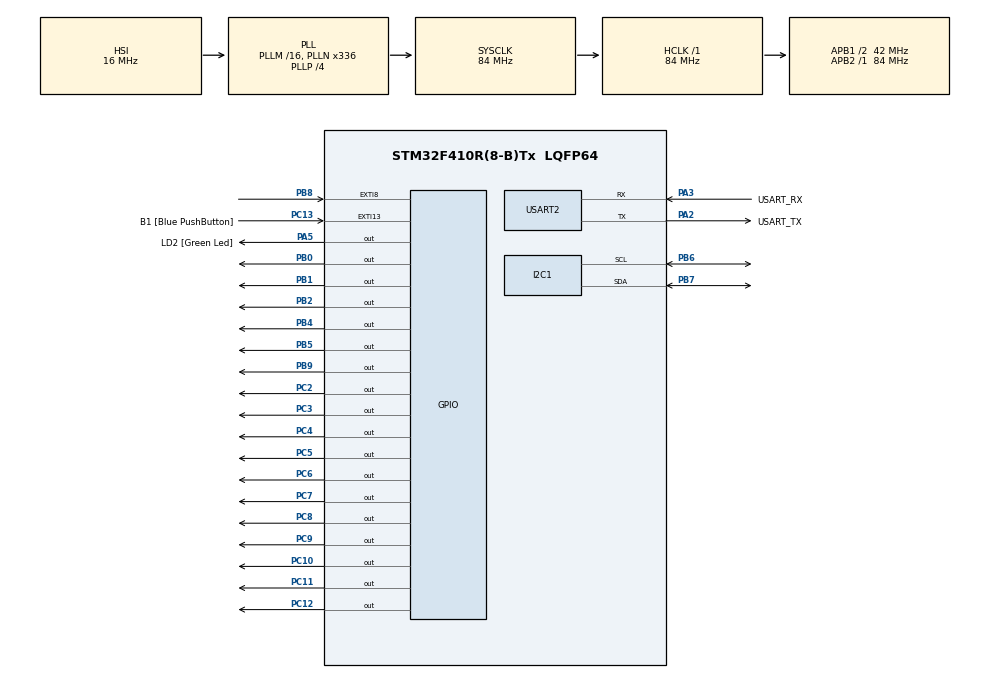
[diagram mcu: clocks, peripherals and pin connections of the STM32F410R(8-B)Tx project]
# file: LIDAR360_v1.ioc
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I2C1.I2C_Mode=I2C_Fast
Mcu.Family=STM32F4
Mcu.Name=STM32F410R(8-B)Tx
Mcu.Package=LQFP64
NVIC.PriorityGroup=NVIC_PRIORITYGROUP_4
PA13.GPIO_Label=TMS
PA13.Mode=Serial_Wire
PA13.Signal=SYS_JTMS-SWDIO
PA14.GPIO_Label=TCK
PA14.Mode=Serial_Wire
PA14.Signal=SYS_JTCK-SWCLK
PA2.GPIO_Label=USART_TX
PA2.Mode=Asynchronous
PA2.Signal=USART2_TX
PA3.GPIO_Label=USART_RX
PA3.Mode=Asynchronous
PA3.Signal=USART2_RX
PA5.GPIO_Label=LD2 [Green Led]
PA5.Signal=GPIO_Output
PB0.Signal=GPIO_Output
PB1.Signal=GPIO_Output
PB2.Signal=GPIO_Output
PB3.GPIO_Label=SWO
PB3.Signal=SYS_JTDO-SWO
PB4.Signal=GPIO_Output
PB5.Signal=GPIO_Output
PB6.Mode=I2C
PB6.Signal=I2C1_SCL
PB7.Mode=I2C
PB7.Signal=I2C1_SDA
PB8.Signal=GPXTI8
PB9.Signal=GPIO_Output
PC10.Signal=GPIO_Output
PC11.Signal=GPIO_Output
PC12.Signal=GPIO_Output
PC13-ANTI_TAMP.GPIO_Label=B1 [Blue PushButton]
PC13-ANTI_TAMP.GPIO_ModeDefaultEXTI=GPIO_MODE_IT_FALLING
PC13-ANTI_TAMP.Signal=GPXTI13
PC14-OSC32_IN.Mode=LSE-External-Oscillator
PC14-OSC32_IN.Signal=RCC_OSC32_IN
PC15-OSC32_OUT.Mode=LSE-External-Oscillator
PC15-OSC32_OUT.Signal=RCC_OSC32_OUT
PC2.Signal=GPIO_Output
PC3.Signal=GPIO_Output
PC4.Signal=GPIO_Output
PC5.Signal=GPIO_Output
PC6.Signal=GPIO_Output
PC7.Signal=GPIO_Output
PC8.Signal=GPIO_Output
PC9.Signal=GPIO_Output
PH0\ -\ OSC_IN.Mode=HSE-External-Clock-Source
PH0\ -\ OSC_IN.Signal=RCC_OSC_IN
PH1\ -\ OSC_OUT.Mode=HSE-External-Clock-Source
PH1\ -\ OSC_OUT.Signal=RCC_OSC_OUT
ProjectManager.HeapSize=0x200
ProjectManager.StackSize=0x400
ProjectManager.TargetToolchain=STM32CubeIDE
RCC.48MHZClocksFreq_Value=84000000
RCC.AHBFreq_Value=84000000
RCC.APB1CLKDivider=RCC_HCLK_DIV2
RCC.APB1Freq_Value=42000000
RCC.APB1TimFreq_Value=84000000
RCC.APB2Freq_Value=84000000
RCC.APB2TimFreq_Value=84000000
RCC.CortexFreq_Value=84000000
RCC.FLatency-AdvancedSettings=FLASH_LATENCY_2
RCC.HCLKFreq_Value=84000000
RCC.HSE_VALUE=8000000
RCC.HSI_VALUE=16000000
RCC.PLLN=336
RCC.PLLP=RCC_PLLP_DIV4
RCC.SYSCLKFreq_VALUE=84000000
RCC.SYSCLKSource=RCC_SYSCLKSOURCE_PLLCLK
RCC.VCOOutputFreq_Value=336000000
USART2.VirtualMode=VM_ASYNC
board=NUCLEO-F410RB

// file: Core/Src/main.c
/* USER CODE BEGIN Header */
/**
  ******************************************************************************
  * @file           : main.c
  * @brief          : Main program body
  ******************************************************************************
  * @attention
  *
  * Copyright (c) 2022 STMicroelectronics.
  * All rights reserved.
  *
  * This software is licensed under terms that can be found in the LICENSE file
  * in the root directory of this software component.
  * If no LICENSE file comes with this software, it is provided AS-IS.
  *
  ******************************************************************************
  */
/* USER CODE END Header */
#include "main.h"

/* USER CODE BEGIN Includes */
#include "platform_specific.h"
#include "stm32f4xx.h"
#include "stm32f4xx_nucleo.h"
#include "platform_specific.h"
#include <string.h>
#include "VL53L1X_api.h"
#include "math.h"
/* USER CODE END Includes */

/* USER CODE BEGIN PD */
#define RadarCircleRadius 						(110.0 / 2.0)
#define Pi 										3.1415
#define VHV_TIMER 								200
#define ROI_CONFIG__USER_ROI_CENTRE_SPAD		0x007F
//#define NumOfTOFSensors							9
#define NumOfTOFSensors							16
#define TotalWidthOfSPADS						16
#define WidthOfSPADsPerZone						4
#define NumOfSPADsShiftPerZone					1
#define HorizontalFOVofSensor					19.09
#define SingleSPADFOV							(HorizontalFOVofSensor/TotalWidthOfSPADS)
#define NumOfZonesPerSensor						(((TotalWidthOfSPADS - WidthOfSPADsPerZone) / NumOfSPADsShiftPerZone) + 1)
#define StartingZoneAngle						(WidthOfSPADsPerZone / 2 * SingleSPADFOV)
#define ZoneFOVChangePerStep					(SingleSPADFOV * NumOfSPADsShiftPerZone)
/* USER CODE END PD */

 I2C_HandleTypeDef hi2c1;

UART_HandleTypeDef huart2;

/* USER CODE BEGIN PV */

 /* ----- UART variables, only useful for Serial communication ----- */

 extern char Uart_RXBuffer[80];	/* Buffer for continuous RX */
 #ifdef USER
 extern char UartComm_RXBuffer[80];
 #endif
 extern int UART_Active;		/* Flag to see if UART is active */
 extern int UART_Ready;		/* Flag new command available   */
 extern size_t Uart_RxIndex;

 /* ----- VL53L1X variables ----- */

 uint16_t Dev_init = 0x52;		/* I2C address of device 1 */
 float    LidarAngle[117];
 uint16_t LidarDistance[117];
 uint32_t TimeStamp[117];
 //uint16_t Devs[9] = {0x62, 0x64, 0x66, 0x68, 0x6A, 0x6C, 0x6E, 0x70, 0x72};
 uint16_t Devs[16] = {0x62, 0x64, 0x66, 0x68, 0x6A, 0x6C, 0x6E, 0x70, 0x72, 0x74, 0x76, 0x78, 0x7A, 0x7C, 0x7E, 0x80};
 uint16_t Distance;
 uint16_t SignalRate;
 uint16_t SpadNb;
 uint16_t AmbientRate;
 uint16_t SignalPerSpad;
 uint16_t AmbientPerSpad;
 uint8_t RangeStatus;
 uint16_t RangeCounter = 0;
 #define Calibrate
 /*
 #ifdef Calibrate
 int16_t  OffsetCal[NumOfTOFSensors*NumOfZonesPerSensor] = {
 		0,0,0,0,0,0,0,0,0,0,0,0,0,
 		0,0,0,0,0,0,0,0,0,0,0,0,0,
 		0,0,0,0,0,0,0,0,0,0,0,0,0,
 		0,0,0,0,0,0,0,0,0,0,0,0,0,
 		0,0,0,0,0,0,0,0,0,0,0,0,0,
 		0,0,0,0,0,0,0,0,0,0,0,0,0,
 		0,0,0,0,0,0,0,0,0,0,0,0,0,
 		0,0,0,0,0,0,0,0,0,0,0,0,0,
 		0,0,0,0,0,0,0,0,0,0,0,0,0
 		};
 #else
 int16_t  OffsetCal[NumOfTOFSensors * NumOfZonesPerSensor] = {
  -40, -44, -29, -24, -21, -18, -14, -15, -14, -13, -17, -22, -32,
  -28, -17, -21, -24, -11, -12, -12,  -9, -11, -26, -25, -36, -38,
  -36, -46, -26, -24, -20, -16, -17, -14, -11, -18, -17, -26, -37,
  -43, -31, -21, -25, -20,  -8, -12, -12, -13, -20, -27, -26, -38,
  -51, -41, -36, -24, -22, -21, -19, -16, -17, -22, -32, -41, -52,
  -44, -38, -26, -26, -29, -17,  -8, -11, -20, -20, -28, -34, -40,
  -50, -41, -37, -39, -23, -11, -21, -18, -20, -18, -23, -34, -48,
  -50, -41, -29, -28, -20, -16, -10, -16, -22, -25, -22, -45, -41,
  -43, -40, -25, -27, -16, -21, -14,  -9, -28, -39, -40, -46, -55
 };*/
#ifdef Calibrate
int16_t  OffsetCal[NumOfTOFSensors*NumOfZonesPerSensor] = {
		0,0,0,0,0,0,0,0,0,0,0,0,0,
		0,0,0,0,0,0,0,0,0,0,0,0,0,
		0,0,0,0,0,0,0,0,0,0,0,0,0,
		0,0,0,0,0,0,0,0,0,0,0,0,0,
		0,0,0,0,0,0,0,0,0,0,0,0,0,
		0,0,0,0,0,0,0,0,0,0,0,0,0,
		0,0,0,0,0,0,0,0,0,0,0,0,0,
		0,0,0,0,0,0,0,0,0,0,0,0,0,
		0,0,0,0,0,0,0,0,0,0,0,0,0,
		0,0,0,0,0,0,0,0,0,0,0,0,0,
		0,0,0,0,0,0,0,0,0,0,0,0,0,
		0,0,0,0,0,0,0,0,0,0,0,0,0,
		0,0,0,0,0,0,0,0,0,0,0,0,0,
		0,0,0,0,0,0,0,0,0,0,0,0,0,
		0,0,0,0,0,0,0,0,0,0,0,0,0,
		0,0,0,0,0,0,0,0,0,0,0,0,0
		};
#else
int16_t  OffsetCal[NumOfTOFSensors * NumOfZonesPerSensor] = {
 -40, -44, -29, -24, -21, -18, -14, -15, -14, -13, -17, -22, -32,
 -28, -17, -21, -24, -11, -12, -12,  -9, -11, -26, -25, -36, -38,
 -36, -46, -26, -24, -20, -16, -17, -14, -11, -18, -17, -26, -37,
 -43, -31, -21, -25, -20,  -8, -12, -12, -13, -20, -27, -26, -38,
 -51, -41, -36, -24, -22, -21, -19, -16, -17, -22, -32, -41, -52,
 -44, -38, -26, -26, -29, -17,  -8, -11, -20, -20, -28, -34, -40,
 -50, -41, -37, -39, -23, -11, -21, -18, -20, -18, -23, -34, -48,
 -50, -41, -29, -28, -20, -16, -10, -16, -22, -25, -22, -45, -41,
 -43, -40, -25, -27, -16, -21, -14,  -9, -28, -39, -40, -46, -55
};

 #endif
 uint16_t   zone_center[]={247,239,231,223,215,207,199,191,183,175,167,159,151, 247, 239, 231, 223, 215};
 // Timing Budget Options:  15, 20, 33, 50, 100, 200, 500
 uint16_t TimingBudget = 15;

 uint16_t current_zone=0;
 char BigBuff[4000];
 char VL53L1X_BUFFER[60];	/* Create a buffer to get data */
/* USER CODE END PV */

void SystemClock_Config(void);
static void MX_GPIO_Init(void);
static void MX_USART2_UART_Init(void);
static void MX_I2C1_Init(void);
/* USER CODE BEGIN PFP */
void PlotPolarData(uint8_t SensorNum, uint8_t CurrentZone, uint8_t NumOfZones, uint16_t Distance);
void TurnOnSensor(uint8_t SensorNum);
void ResetAllSensors(void);
void ResetAndInitializeAllSensors(void);
void SystemClock_Config(void);
/* USER CODE END PFP */

/* USER CODE BEGIN 0 */
uint8_t dataRead;
void ResetAndInitializeAllSensors(void)
{
	uint8_t i, Sensor, error = 0;
	uint8_t Bootstate = 0;
	int16_t Offset;
	ResetAllSensors();
	HAL_Delay(10);
	for (i = 0; i < NumOfTOFSensors; i++)
	{
		TurnOnSensor(i);
		HAL_Delay(5);
		error += VL53L1X_BootState(Dev_init, &Bootstate);
		while (Bootstate != 0x03)
		{
			HAL_Delay(5);
			error += VL53L1X_BootState(Dev_init, &Bootstate);
		}
		VL53L1X_SensorInit(Dev_init);	/* Initialize sensor  */
		VL53L1X_SetI2CAddress(Dev_init, Devs[i]);	/* Change i2c address Left is now 0x62 and Dev1 */
		dataRead = ReadRegister8(Devs[i], 0x10f);
		dataRead = ReadRegister8(Devs[i], 0x110);
	}
	UART_Print("All Chips booted\n");

	for (Sensor = 0; Sensor < NumOfTOFSensors; Sensor++)
	{
		VL53L1X_SetDistanceMode(Devs[Sensor], 1);
		VL53L1X_SetTimingBudgetInMs(Devs[Sensor], TimingBudget);
		VL53L1X_SetInterMeasurementInMs(Devs[Sensor], TimingBudget);
		VL53L1X_SetROI(Devs[Sensor], WidthOfSPADsPerZone, 6);
		WriteRegister8(Devs[Sensor], ROI_CONFIG__USER_ROI_CENTRE_SPAD, zone_center[0] - 0);
		error = VL53L1X_GetOffset(Devs[Sensor], &Offset);
		VL53L1X_SetOffset(Devs[Sensor], Offset + 40);
	}
	for (Sensor = 0; Sensor < NumOfTOFSensors; Sensor++)
	{
		VL53L1X_StartRanging(Devs[Sensor]);
		HAL_Delay(1);
	}
	if (error !=0)
	{
		UART_Print("Some Errors seen\n");
	}

}

float OldAngle;
double SystemAngle;
void PlotPolarData(uint8_t SensorNum, uint8_t CurrentZone, uint8_t NumOfZones, uint16_t Distance)
{
	double PartZoneAngle;

	float CorrectedDistance = 0;

	if (Distance > 60000)
	{
		Distance = 0;
	}
	PartZoneAngle = (StartingZoneAngle + ZoneFOVChangePerStep*CurrentZone) - (HorizontalFOVofSensor / 2.0);
	SystemAngle = -80 + 20.0*SensorNum + PartZoneAngle;
	CorrectedDistance = pow(pow(RadarCircleRadius,2) + pow(Distance, 2) - (2 * RadarCircleRadius * Distance * cos((180 - PartZoneAngle)/(180) * Pi)), 0.5);
	if (CorrectedDistance < 55)
	{
		CorrectedDistance = 55;
	}
	LidarAngle[SensorNum*13+CurrentZone] = SystemAngle;
	LidarDistance[SensorNum*13+CurrentZone] = (uint16_t)CorrectedDistance;
}

void TurnOnSensor(uint8_t SensorNum)
{
	switch (SensorNum)
	{
		case 0:
			// GPIO PC2
			HAL_GPIO_WritePin(GPIOC, GPIO_PIN_2, GPIO_PIN_SET);
			break;
		case 1:
			// GPIO PC3
			HAL_GPIO_WritePin(GPIOC, GPIO_PIN_3, GPIO_PIN_SET);
			break;
		case 2:
			// GPIO PC4
			HAL_GPIO_WritePin(GPIOC, GPIO_PIN_4, GPIO_PIN_SET);
			break;
		case 3:
			// GPIO PC5
			HAL_GPIO_WritePin(GPIOC, GPIO_PIN_5, GPIO_PIN_SET);
			break;
		case 4:
			// GPIO PC6
			HAL_GPIO_WritePin(GPIOC, GPIO_PIN_6, GPIO_PIN_SET);
			break;
		case 5:
			// GPIO PC7
			HAL_GPIO_WritePin(GPIOC, GPIO_PIN_7, GPIO_PIN_SET);
			break;
		case 6:
			// GPIO PC8
			HAL_GPIO_WritePin(GPIOC, GPIO_PIN_8, GPIO_PIN_SET);
			break;
		case 7:
			// GPIO PC9
			HAL_GPIO_WritePin(GPIOC, GPIO_PIN_9, GPIO_PIN_SET);
			break;
		case 8:
			// GPIO PC10
			HAL_GPIO_WritePin(GPIOC, GPIO_PIN_10, GPIO_PIN_SET);
			break;
		case 9:
			// GPIO PC11
			HAL_GPIO_WritePin(GPIOC, GPIO_PIN_11, GPIO_PIN_SET);
			break;
		case 10:
			// GPIO PC12
			HAL_GPIO_WritePin(GPIOC, GPIO_PIN_12, GPIO_PIN_SET);
			break;
		case 11:
			// GPIO PB0
			HAL_GPIO_WritePin(GPIOB, GPIO_PIN_0, GPIO_PIN_SET);
			break;
		case 12:
			// GPIO PB1
			HAL_GPIO_WritePin(GPIOB, GPIO_PIN_1, GPIO_PIN_SET);
			break;
		case 13:
			// GPIO PB2
			HAL_GPIO_WritePin(GPIOB, GPIO_PIN_2, GPIO_PIN_SET);
			break;
		/*case 14:
			// GPIO PB3
			HAL_GPIO_WritePin(GPIOB, GPIO_PIN_3, GPIO_PIN_SET);
			break;*/
		case 14:
			// GPIO PB8
			HAL_GPIO_WritePin(GPIOB, GPIO_PIN_8, GPIO_PIN_SET);
			break;
		case 15:
			// GPIO PB4
			HAL_GPIO_WritePin(GPIOB, GPIO_PIN_4, GPIO_PIN_SET);
			break;
		case 16:
			// GPIO PB5
			HAL_GPIO_WritePin(GPIOB, GPIO_PIN_5, GPIO_PIN_SET);
			break;
		/*case 17:
			// GPIO PB6
			HAL_GPIO_WritePin(GPIOB, GPIO_PIN_6, GPIO_PIN_SET);
			break;
		case 18:
			// GPIO PB7
			HAL_GPIO_WritePin(GPIOB, GPIO_PIN_7, GPIO_PIN_SET);
			break;*/
		case 17:
			// GPIO PB9
			HAL_GPIO_WritePin(GPIOB, GPIO_PIN_9, GPIO_PIN_SET);
			break;
		case 18:
			// GPIO PB10
			HAL_GPIO_WritePin(GPIOB, GPIO_PIN_10, GPIO_PIN_SET);
			break;
	}
}

void ResetAllSensors(void)
{
	HAL_GPIO_WritePin(GPIOC, GPIO_PIN_2, GPIO_PIN_RESET);
	HAL_GPIO_WritePin(GPIOC, GPIO_PIN_3, GPIO_PIN_RESET);
	HAL_GPIO_WritePin(GPIOC, GPIO_PIN_4, GPIO_PIN_RESET);
	HAL_GPIO_WritePin(GPIOC, GPIO_PIN_5, GPIO_PIN_RESET);
	HAL_GPIO_WritePin(GPIOC, GPIO_PIN_6, GPIO_PIN_RESET);
	HAL_GPIO_WritePin(GPIOC, GPIO_PIN_7, GPIO_PIN_RESET);
	HAL_GPIO_WritePin(GPIOC, GPIO_PIN_8, GPIO_PIN_RESET);
	HAL_GPIO_WritePin(GPIOC, GPIO_PIN_9, GPIO_PIN_RESET);
	HAL_GPIO_WritePin(GPIOC, GPIO_PIN_10, GPIO_PIN_RESET);
	HAL_GPIO_WritePin(GPIOC, GPIO_PIN_11, GPIO_PIN_RESET);
	HAL_GPIO_WritePin(GPIOC, GPIO_PIN_12, GPIO_PIN_RESET);

	HAL_GPIO_WritePin(GPIOB, GPIO_PIN_0, GPIO_PIN_RESET);
	HAL_GPIO_WritePin(GPIOB, GPIO_PIN_1, GPIO_PIN_RESET);
	HAL_GPIO_WritePin(GPIOB, GPIO_PIN_2, GPIO_PIN_RESET);
	//HAL_GPIO_WritePin(GPIOB, GPIO_PIN_3, GPIO_PIN_RESET);
	HAL_GPIO_WritePin(GPIOB, GPIO_PIN_4, GPIO_PIN_RESET);
	HAL_GPIO_WritePin(GPIOB, GPIO_PIN_5, GPIO_PIN_RESET);
	//HAL_GPIO_WritePin(GPIOB, GPIO_PIN_6, GPIO_PIN_RESET); I2C
	//HAL_GPIO_WritePin(GPIOB, GPIO_PIN_7, GPIO_PIN_RESET); I2C
	HAL_GPIO_WritePin(GPIOB, GPIO_PIN_8, GPIO_PIN_RESET);
	HAL_GPIO_WritePin(GPIOB, GPIO_PIN_9, GPIO_PIN_RESET);
	HAL_GPIO_WritePin(GPIOB, GPIO_PIN_10, GPIO_PIN_RESET);
}

/* USER CODE END 0 */

int main(void)
{
  /* USER CODE BEGIN 1 */
	VL53L1X_ERROR error = 0;
	uint32_t i=0;
	uint8_t Zone, Sensor, Timeout;

	uint32_t TimeStart, TimeEnd, TotalTime, CurrentTime;
	uint8_t Sensorcheck;
  /* USER CODE END 1 */

  /* MCU Configuration--------------------------------------------------------*/

  /* Reset of all peripherals, Initializes the Flash interface and the Systick. */
  HAL_Init();

  /* Configure the system clock */
  SystemClock_Config();

  /* Initialize all configured peripherals */
  MX_GPIO_Init();
  MX_USART2_UART_Init();
  MX_I2C1_Init();

  /* Infinite loop */
  while (1)
  {

    /* USER CODE BEGIN 3 */
	error = 0;
	TimeStart = HAL_GetTick();
	Timeout = 0;
	for(Zone = 0; Zone < NumOfZonesPerSensor; Zone++)
	{
		for (Sensor=0; Sensor < NumOfTOFSensors ; Sensor++)
		{
			WriteRegister8(Devs[Sensor], ROI_CONFIG__USER_ROI_CENTRE_SPAD, zone_center[Zone+1] - 0);
		}
		i=i+1;
		for (Sensor=0; Sensor < NumOfTOFSensors ; Sensor++)
		{
			error = VL53L1X_CheckForDataReady(Devs[Sensor], &Sensorcheck);
			while ((Sensorcheck == 0) && (Timeout == 0))
			{
				HAL_Delay(1);
				CurrentTime = HAL_GetTick();
				if (CurrentTime > (TimeStart + (NumOfZonesPerSensor + 1) * TimingBudget * 2))
				{
					Timeout = 1;
					Sensor = NumOfTOFSensors;
					Zone = NumOfZonesPerSensor;
				}
				else
				{
					error += VL53L1X_CheckForDataReady(Devs[Sensor], &Sensorcheck);
				}
			}
			if (Timeout == 0)
			{
				WriteRegister8(Devs[Sensor], ROI_CONFIG__USER_ROI_CENTRE_SPAD, zone_center[Zone+1] - 0);
				TimeStamp[Sensor*13+ Zone] = HAL_GetTick();
				VL53L1X_ClearInterrupt(Devs[Sensor]);

				error += VL53L1X_GetDistance(Devs[Sensor], &Distance);
				error += VL53L1X_GetRangeStatus(Devs[Sensor], &RangeStatus);
				if ((RangeStatus== 0) || (RangeStatus == 7))
				{
					if (Distance > 60000)
					{
						Distance = 0;
						PlotPolarData(Sensor, Zone, 13, 0);
					}
					else
					{
						Distance = Distance + OffsetCal[Sensor*13 + Zone];
						if (Distance > 60000)
						{
							Distance = 0;
						}
						PlotPolarData(Sensor, Zone, 13, Distance);
					}
				}
				else
				{
					PlotPolarData(Sensor, Zone, 13, 4000);
				}
			}
		}
	}
	if (Timeout == 1)
	{
		ResetAndInitializeAllSensors();
		Timeout = 0;
		UART_Print("Reset Performed\n");
	}
	else
	{
		HAL_Delay(TimingBudget);
		TimeEnd = HAL_GetTick();;
		TotalTime = (TimeEnd - TimeStart);
		snprintf(BigBuff, sizeof(BigBuff), "Time: %ld\n", TotalTime);
		UART_Print(BigBuff);
	}
	if (error !=0)
	{
		UART_Print("Some Errors seen\n");
	}
  }
  /* USER CODE END 3 */
}

void SystemClock_Config(void)
{
  RCC_OscInitTypeDef RCC_OscInitStruct = {0};
  RCC_ClkInitTypeDef RCC_ClkInitStruct = {0};

  /** Configure the main internal regulator output voltage
  */
  __HAL_RCC_PWR_CLK_ENABLE();
  __HAL_PWR_VOLTAGESCALING_CONFIG(PWR_REGULATOR_VOLTAGE_SCALE1);

  /** Initializes the RCC Oscillators according to the specified parameters
  * in the RCC_OscInitTypeDef structure.
  */
  RCC_OscInitStruct.OscillatorType = RCC_OSCILLATORTYPE_HSI;
  RCC_OscInitStruct.HSIState = RCC_HSI_ON;
  RCC_OscInitStruct.HSICalibrationValue = RCC_HSICALIBRATION_DEFAULT;
  RCC_OscInitStruct.PLL.PLLState = RCC_PLL_ON;
  RCC_OscInitStruct.PLL.PLLSource = RCC_PLLSOURCE_HSI;
  RCC_OscInitStruct.PLL.PLLM = 16;
  RCC_OscInitStruct.PLL.PLLN = 336;
  RCC_OscInitStruct.PLL.PLLP = RCC_PLLP_DIV4;
  RCC_OscInitStruct.PLL.PLLQ = 4;
  RCC_OscInitStruct.PLL.PLLR = 2;
  if (HAL_RCC_OscConfig(&RCC_OscInitStruct) != HAL_OK)
  {
    Error_Handler();
  }

  /** Initializes the CPU, AHB and APB buses clocks
  */
  RCC_ClkInitStruct.ClockType = RCC_CLOCKTYPE_HCLK|RCC_CLOCKTYPE_SYSCLK
                              |RCC_CLOCKTYPE_PCLK1|RCC_CLOCKTYPE_PCLK2;
  RCC_ClkInitStruct.SYSCLKSource = RCC_SYSCLKSOURCE_PLLCLK;
  RCC_ClkInitStruct.AHBCLKDivider = RCC_SYSCLK_DIV1;
  RCC_ClkInitStruct.APB1CLKDivider = RCC_HCLK_DIV2;
  RCC_ClkInitStruct.APB2CLKDivider = RCC_HCLK_DIV1;

  if (HAL_RCC_ClockConfig(&RCC_ClkInitStruct, FLASH_LATENCY_2) != HAL_OK)
  {
    Error_Handler();
  }
}

static void MX_I2C1_Init(void)
{

  hi2c1.Instance = I2C1;
  hi2c1.Init.ClockSpeed = 400000;
  hi2c1.Init.DutyCycle = I2C_DUTYCYCLE_2;
  hi2c1.Init.OwnAddress1 = 0;
  hi2c1.Init.AddressingMode = I2C_ADDRESSINGMODE_7BIT;
  hi2c1.Init.DualAddressMode = I2C_DUALADDRESS_DISABLE;
  hi2c1.Init.OwnAddress2 = 0;
  hi2c1.Init.GeneralCallMode = I2C_GENERALCALL_DISABLE;
  hi2c1.Init.NoStretchMode = I2C_NOSTRETCH_DISABLE;
  if (HAL_I2C_Init(&hi2c1) != HAL_OK)
  {
    Error_Handler();
  }

}

static void MX_USART2_UART_Init(void)
{

  huart2.Instance = USART2;
  huart2.Init.BaudRate = 115200;
  huart2.Init.WordLength = UART_WORDLENGTH_8B;
  huart2.Init.StopBits = UART_STOPBITS_1;
  huart2.Init.Parity = UART_PARITY_NONE;
  huart2.Init.Mode = UART_MODE_TX_RX;
  huart2.Init.HwFlowCtl = UART_HWCONTROL_NONE;
  huart2.Init.OverSampling = UART_OVERSAMPLING_16;
  if (HAL_UART_Init(&huart2) != HAL_OK)
  {
    Error_Handler();
  }

}

static void MX_GPIO_Init(void)
{
  GPIO_InitTypeDef GPIO_InitStruct = {0};

  /* GPIO Ports Clock Enable */
  __HAL_RCC_GPIOC_CLK_ENABLE();
  __HAL_RCC_GPIOH_CLK_ENABLE();
  __HAL_RCC_GPIOA_CLK_ENABLE();
  __HAL_RCC_GPIOB_CLK_ENABLE();

  /*Configure GPIO pin Output Level */
  HAL_GPIO_WritePin(GPIOC, GPIO_PIN_2|GPIO_PIN_3|GPIO_PIN_4|GPIO_PIN_5
                          |GPIO_PIN_6|GPIO_PIN_7|GPIO_PIN_8|GPIO_PIN_9
                          |GPIO_PIN_10|GPIO_PIN_11|GPIO_PIN_12, GPIO_PIN_RESET);

  /*Configure GPIO pin Output Level */
  HAL_GPIO_WritePin(LD2_GPIO_Port, LD2_Pin, GPIO_PIN_RESET);

  /*Configure GPIO pin Output Level */
  HAL_GPIO_WritePin(GPIOB, GPIO_PIN_0|GPIO_PIN_1|GPIO_PIN_2|GPIO_PIN_4
                          |GPIO_PIN_5|GPIO_PIN_9, GPIO_PIN_RESET);

  /*Configure GPIO pin : B1_Pin */
  GPIO_InitStruct.Pin = B1_Pin;
  GPIO_InitStruct.Mode = GPIO_MODE_IT_FALLING;
  GPIO_InitStruct.Pull = GPIO_NOPULL;
  HAL_GPIO_Init(B1_GPIO_Port, &GPIO_InitStruct);

  /*Configure GPIO pins : PC2 PC3 PC4 PC5
                           PC6 PC7 PC8 PC9
                           PC10 PC11 PC12 */
  GPIO_InitStruct.Pin = GPIO_PIN_2|GPIO_PIN_3|GPIO_PIN_4|GPIO_PIN_5
                          |GPIO_PIN_6|GPIO_PIN_7|GPIO_PIN_8|GPIO_PIN_9
                          |GPIO_PIN_10|GPIO_PIN_11|GPIO_PIN_12;
  GPIO_InitStruct.Mode = GPIO_MODE_OUTPUT_PP;
  GPIO_InitStruct.Pull = GPIO_NOPULL;
  GPIO_InitStruct.Speed = GPIO_SPEED_FREQ_LOW;
  HAL_GPIO_Init(GPIOC, &GPIO_InitStruct);

  /*Configure GPIO pin : LD2_Pin */
  GPIO_InitStruct.Pin = LD2_Pin;
  GPIO_InitStruct.Mode = GPIO_MODE_OUTPUT_PP;
  GPIO_InitStruct.Pull = GPIO_NOPULL;
  GPIO_InitStruct.Speed = GPIO_SPEED_FREQ_LOW;
  HAL_GPIO_Init(LD2_GPIO_Port, &GPIO_InitStruct);

  /*Configure GPIO pins : PB0 PB1 PB2 PB4
                           PB5 PB9 */
  GPIO_InitStruct.Pin = GPIO_PIN_0|GPIO_PIN_1|GPIO_PIN_2|GPIO_PIN_4
                          |GPIO_PIN_5|GPIO_PIN_9;
  GPIO_InitStruct.Mode = GPIO_MODE_OUTPUT_PP;
  GPIO_InitStruct.Pull = GPIO_NOPULL;
  GPIO_InitStruct.Speed = GPIO_SPEED_FREQ_LOW;
  HAL_GPIO_Init(GPIOB, &GPIO_InitStruct);

  /*Configure GPIO pin : PB8 */
  GPIO_InitStruct.Pin = GPIO_PIN_8;
  GPIO_InitStruct.Mode = GPIO_MODE_IT_RISING;
  GPIO_InitStruct.Pull = GPIO_NOPULL;
  HAL_GPIO_Init(GPIOB, &GPIO_InitStruct);

}

void Error_Handler(void)
{
  __disable_irq();
  while (1)
  {
  }
}
